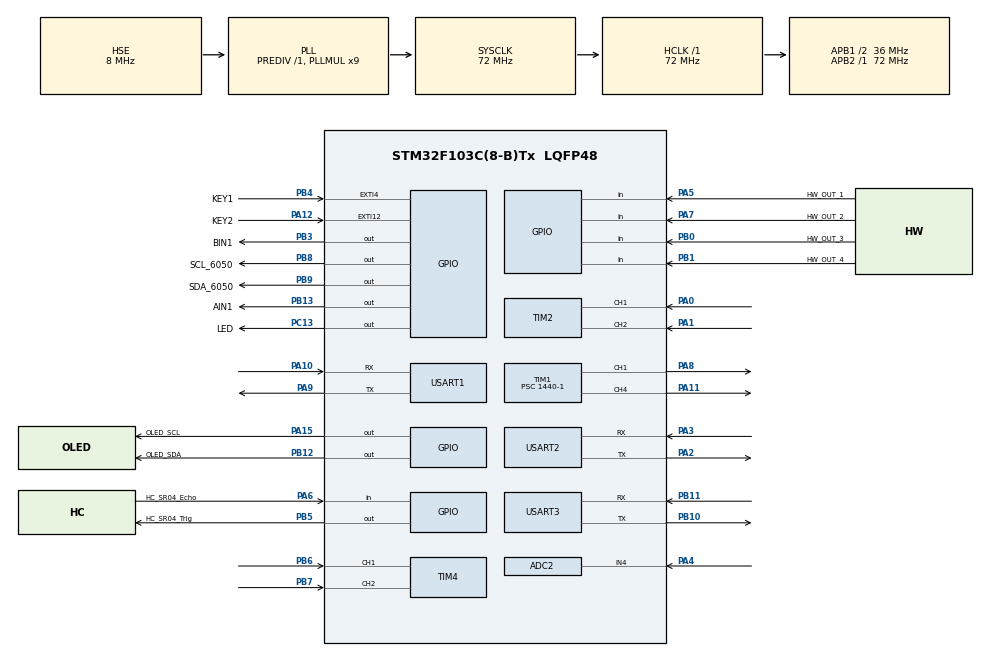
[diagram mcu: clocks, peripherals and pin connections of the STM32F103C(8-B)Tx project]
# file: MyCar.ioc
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ADC2.Channel-0\#ChannelRegularConversion=ADC_CHANNEL_4
ADC2.NbrOfConversionFlag=1
ADC2.Rank-0\#ChannelRegularConversion=1
ADC2.SamplingTime-0\#ChannelRegularConversion=ADC_SAMPLETIME_13CYCLES_5
FREERTOS.INCLUDE_uxTaskGetStackHighWaterMark=1
FREERTOS.Queues01=myQueueMode,1,uint8_t,0,Dynamic,NULL,NULL
FREERTOS.Tasks01=StopTask,2,128,StartStopTask,Default,NULL,Dynamic,NULL,NULL;LedTask,0,128,StartLedTask,Default,NULL,Dynamic,NULL,NULL;OledTask,0,128,StartOledTask,Default,NULL,Dynamic,NULL,NULL;MultiModeTask,1,128,StartMultiModeTask,Default,NULL,Dynamic,NULL,NULL
Mcu.Family=STM32F1
Mcu.Name=STM32F103C(8-B)Tx
Mcu.Package=LQFP48
NVIC.EXTI15_10_IRQn=true\:5\:0\:true\:false\:true\:true\:true\:true\:true
NVIC.EXTI4_IRQn=true\:5\:0\:true\:false\:true\:true\:true\:true\:true
NVIC.PriorityGroup=NVIC_PRIORITYGROUP_4
NVIC.TIM1_UP_IRQn=true\:5\:0\:false\:false\:true\:true\:true\:true\:true
NVIC.TIM2_IRQn=true\:5\:0\:false\:false\:true\:true\:true\:true\:true
NVIC.TIM3_IRQn=true\:15\:0\:false\:false\:true\:false\:false\:true\:true
NVIC.TIM4_IRQn=true\:5\:0\:false\:false\:true\:true\:true\:true\:true
NVIC.TimeBase=TIM3_IRQn
NVIC.TimeBaseIP=TIM3
NVIC.USART1_IRQn=true\:5\:0\:false\:false\:true\:true\:true\:true\:true
NVIC.USART2_IRQn=true\:5\:0\:false\:false\:true\:true\:true\:true\:true
NVIC.USART3_IRQn=true\:5\:0\:false\:false\:true\:true\:true\:true\:true
PA0-WKUP.GPIO_PuPd=GPIO_PULLUP
PA0-WKUP.Signal=S_TIM2_CH1_ETR
PA1.GPIO_PuPd=GPIO_PULLUP
PA1.Signal=S_TIM2_CH2
PA10.Mode=Asynchronous
PA10.Signal=USART1_RX
PA11.Signal=S_TIM1_CH4
PA12.GPIO_Label=KEY2
PA12.GPIO_ModeDefaultEXTI=GPIO_MODE_IT_FALLING
PA12.GPIO_PuPd=GPIO_PULLUP
PA12.Signal=GPXTI12
PA13.Mode=Serial_Wire
PA13.Signal=SYS_JTMS-SWDIO
PA14.Mode=Serial_Wire
PA14.Signal=SYS_JTCK-SWCLK
PA15.GPIO_Label=OLED_SCL
PA15.GPIO_PuPd=GPIO_PULLUP
PA15.PinState=GPIO_PIN_SET
PA15.Signal=GPIO_Output
PA2.Mode=Asynchronous
PA2.Signal=USART2_TX
PA3.Mode=Asynchronous
PA3.Signal=USART2_RX
PA4.Signal=ADCx_IN4
PA5.GPIO_Label=HW_OUT_1
PA5.Signal=GPIO_Input
PA6.GPIO_Label=HC_SR04_Echo
PA6.Signal=GPIO_Input
PA7.GPIO_Label=HW_OUT_2
PA7.Signal=GPIO_Input
PA8.Signal=S_TIM1_CH1
PA9.Mode=Asynchronous
PA9.Signal=USART1_TX
PB0.GPIO_Label=HW_OUT_3
PB0.Signal=GPIO_Input
PB1.GPIO_Label=HW_OUT_4
PB1.Signal=GPIO_Input
PB10.Mode=Asynchronous
PB10.Signal=USART3_TX
PB11.Mode=Asynchronous
PB11.Signal=USART3_RX
PB12.GPIO_Label=OLED_SDA
PB12.GPIO_PuPd=GPIO_PULLUP
PB12.PinState=GPIO_PIN_SET
PB12.Signal=GPIO_Output
PB13.GPIO_Label=AIN1
PB13.Signal=GPIO_Output
PB3.GPIO_Label=BIN1
PB3.Signal=GPIO_Output
PB4.GPIO_Label=KEY1
PB4.GPIO_ModeDefaultEXTI=GPIO_MODE_IT_RISING
PB4.GPIO_PuPd=GPIO_PULLDOWN
PB4.Signal=GPXTI4
PB5.GPIO_Label=HC_SR04_Trig
PB5.Signal=GPIO_Output
PB6.GPIO_PuPd=GPIO_PULLUP
PB6.Signal=S_TIM4_CH1
PB7.GPIO_PuPd=GPIO_PULLUP
PB7.Signal=S_TIM4_CH2
PB8.GPIO_Label=SCL_6050
PB8.PinState=GPIO_PIN_SET
PB8.Signal=GPIO_Output
PB9.GPIO_Label=SDA_6050
PB9.PinState=GPIO_PIN_SET
PB9.Signal=GPIO_Output
PC13-TAMPER-RTC.GPIO_Label=LED
PC13-TAMPER-RTC.Signal=GPIO_Output
PD0-OSC_IN.Mode=HSE-External-Oscillator
PD0-OSC_IN.Signal=RCC_OSC_IN
PD1-OSC_OUT.Mode=HSE-External-Oscillator
PD1-OSC_OUT.Signal=RCC_OSC_OUT
ProjectManager.HeapSize=0x800
ProjectManager.StackSize=0x800
ProjectManager.TargetToolchain=MDK-ARM V5.32
RCC.ADCPresc=RCC_ADCPCLK2_DIV6
RCC.AHBFreq_Value=72000000
RCC.APB1CLKDivider=RCC_HCLK_DIV2
RCC.APB1Freq_Value=36000000
RCC.APB1TimFreq_Value=72000000
RCC.APB2Freq_Value=72000000
RCC.APB2TimFreq_Value=72000000
RCC.HCLKFreq_Value=72000000
RCC.PLLMUL=RCC_PLL_MUL9
RCC.PLLSourceVirtual=RCC_PLLSOURCE_HSE
RCC.SYSCLKFreq_VALUE=72000000
RCC.SYSCLKSource=RCC_SYSCLKSOURCE_PLLCLK
RCC.USBFreq_Value=72000000
SH.ADCx_IN4.0=ADC2_IN4,IN4
SH.S_TIM1_CH1.0=TIM1_CH1,PWM Generation1 CH1
SH.S_TIM1_CH4.0=TIM1_CH4,PWM Generation4 CH4
SH.S_TIM2_CH1_ETR.0=TIM2_CH1,Encoder_Interface
SH.S_TIM2_CH2.0=TIM2_CH2,Encoder_Interface
SH.S_TIM4_CH1.0=TIM4_CH1,Encoder_Interface
SH.S_TIM4_CH2.0=TIM4_CH2,Encoder_Interface
TIM1.AutoReloadPreload=TIM_AUTORELOAD_PRELOAD_ENABLE
TIM1.Channel-PWM\ Generation1\ CH1=TIM_CHANNEL_1
TIM1.Channel-PWM\ Generation4\ CH4=TIM_CHANNEL_4
TIM1.Period=100-1
TIM1.Prescaler=1440-1
TIM1.Pulse-PWM\ Generation1\ CH1=50
TIM1.Pulse-PWM\ Generation4\ CH4=50
TIM2.EncoderMode=TIM_ENCODERMODE_TI12
TIM2.IC1Filter=6
TIM2.IC2Filter=6
TIM4.EncoderMode=TIM_ENCODERMODE_TI12
TIM4.IC1Filter=6
TIM4.IC2Filter=6
USART1.VirtualMode=VM_ASYNC
USART2.VirtualMode=VM_ASYNC
USART3.VirtualMode=VM_ASYNC
VP_FREERTOS_VS_CMSIS_V1.Mode=CMSIS_V1
VP_SYS_VS_tim3.Mode=TIM3
VP_TIM1_VS_ClockSourceINT.Mode=Internal
board=custom

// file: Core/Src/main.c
/* USER CODE BEGIN Header */
/**
  ******************************************************************************
  * @file           : main.c
  * @brief          : Main program body
  ******************************************************************************
  * @attention
  *
  * Copyright (c) 2025 STMicroelectronics.
  * All rights reserved.
  *
  * This software is licensed under terms that can be found in the LICENSE file
  * in the root directory of this software component.
  * If no LICENSE file comes with this software, it is provided AS-IS.
  *
  ******************************************************************************
  */
/* USER CODE END Header */
#include "main.h"
#include "cmsis_os.h"
#include "adc.h"
#include "tim.h"
#include "usart.h"
#include "gpio.h"

/* USER CODE BEGIN Includes */
#include "OLED.h"
#include "motor.h"
#include "pid.h"
#include "MPU6050.h"
#include "Uart.h"

#include "mpu6050.h"
#include "inv_mpu.h"
#include "inv_mpu_dmp_motion_driver.h"

/* USER CODE END Includes */

/* USER CODE BEGIN PTD */

extern tPid pidMotor1Speed;//声明电机1PID速度控制结构体类型变量
extern tPid pidMotor2Speed;
extern tPid pidFollow;    //定距离跟随PID
extern tPid pidMPU6050YawMovement;  //利用6050偏航角 进行姿态控制的PID
extern uint8_t Usart1_ReadBuf[255];	//串口1 缓冲数组
extern float p,i,d,a,b;//使用JSON时候使用的变量
extern uint8_t OledString[50];//OLED显示使用的字符串数组
extern float Mileage;//里程数

uint8_t g_ucUsart3ReceiveData;  //保存串口三接收的数据

extern char Usart3String[50];

/* USER CODE END PTD */

void SystemClock_Config(void);
void MX_FREERTOS_Init(void);

int main(void)
{

  /* MCU Configuration--------------------------------------------------------*/

  /* Reset of all peripherals, Initializes the Flash interface and the Systick. */
  HAL_Init();

  /* Configure the system clock */
  SystemClock_Config();

  /* Initialize all configured peripherals */
  MX_GPIO_Init();
  MX_USART1_UART_Init();
  MX_TIM1_Init();
  MX_TIM2_Init();
  MX_TIM4_Init();
  MX_ADC2_Init();
  MX_USART3_UART_Init();
  MX_USART2_UART_Init();
  /* We should never get here as control is now taken by the scheduler */
  /* USER CODE BEGIN 2 */
  HAL_TIM_PWM_Start(&htim1,TIM_CHANNEL_1);//开启定时器1 通道1 PWM输出
  HAL_TIM_PWM_Start(&htim1,TIM_CHANNEL_4);//开启定时器1 通道4 PWM输出
//	Motor_Set((int)0,(int)0);

  HAL_TIM_Encoder_Start(&htim2,TIM_CHANNEL_ALL);//开启定时器2
  HAL_TIM_Encoder_Start(&htim4,TIM_CHANNEL_ALL);//开启定时器4
  HAL_TIM_Base_Start_IT(&htim2);				//开启定时器2中断
  HAL_TIM_Base_Start_IT(&htim4);        //开启定时器4中断

  HAL_TIM_Base_Start_IT(&htim1);        //开启定时器1中断

  __HAL_UART_ENABLE_IT(&huart1,UART_IT_RXNE);	//开启串口一接收中断

	HAL_UART_Receive_IT(&huart3,&g_ucUsart3ReceiveData,1);  //串口三接收数据
	motorPidSetSpeed(0.0,0.0);
//	printf("init\n");
//  osDelay(500);//延时0.5秒 6050上电稳定后初始化
//  MPU_Init(); //初始化MPU6050
//  while(MPU_Init()!=0);
//  while(mpu_dmp_init()!=0);
//  while(MPU_Init()!=0);//初始化MPU6050模块的MPU 注意初始化阶段不要移动小车
  for(uint8_t i = 0; i < 3 ; i++)
	{
//		printf ("going to MPU init\n");
		uint8_t mpu_init_result = MPU_Init(); // 保存函数返回值	//你妈的 这里卡住了[底层调用的hal_delay该为MPU IIC里的delay]
//		printf ("MPU init over");
		if(mpu_init_result == 0)//初始化成功
		{
			printf("In main.c:MPU_Init() was initialized successfully\n");//串口1 输出初始化成功 注意！ 这个要写再串口1初始化之后
			sprintf((char*)Usart3String, "In main.c:MPU_Init() was initialized successfully\r\n");//蓝牙输出 初始化成功
		  HAL_UART_Transmit(&huart3,( uint8_t *)Usart3String,strlen(( const  char  *)Usart3String),50);//阻塞式发送通过串口三输出字符 strlen:计算字符串大小
			break;
		}
		//上面的MPU_Init能够成功了

		if(i == 3-1 )//说明初始化失败
		{
			printf("In main.c:MPU_Init() failed to initialize last return value: %d\n", mpu_init_result);//串口1 输出初始化失败 注意！ 这个要写再串口1初始化之后 初始化失败及最后一次返回值
			sprintf((char*)Usart3String, "In main.c:MPU_Init() failed to initialize last return value: %d\n", mpu_init_result);//蓝牙输出 初始化失败
		  HAL_UART_Transmit(&huart3,( uint8_t *)Usart3String,strlen(( const  char  *)Usart3String),50);//阻塞式发送通过串口三输出字符 strlen:计算字符串大小
		}
	}

//  while(mpu_dmp_init()!=0);//mpu6050,dmp初始化
  for(uint8_t i = 0; i < 3 ; i++)
	{
		//printf("go to mpu_dmp_init\n");
		uint8_t mpu_dmp_init_result = mpu_dmp_init();//这里卡住了
		//printf("mpu_dmp_init over\n");
		if(mpu_dmp_init_result == 0)//初始化成功
		{
			printf("In main.c:mpu_dmp_init() was initialized successfully\n");//串口1 输出初始化成功 注意！ 这个要写再串口1初始化之后
			sprintf((char*)Usart3String, "In main.c:mpu_dmp_init() was initialized successfully\r\n");//蓝牙输出 初始化成功
		  HAL_UART_Transmit(&huart3,( uint8_t *)Usart3String,strlen(( const  char  *)Usart3String),50);//阻塞式发送通过串口三输出字符 strlen:计算字符串大小
			break;
		}
		if(i == 3-1 )//说明初始化失败
		{
			printf("In main.c: mpu_dmp_init() failed to initialize, last return value: %d\n", mpu_dmp_init_result);//串口1 输出初始化失败 注意！ 这个要写再串口1初始化之后
			sprintf((char*)Usart3String, "In main.c: mpu_dmp_init() failed to initialize, last return value: %d\n", mpu_dmp_init_result);//蓝牙输出 初始化成功
		  HAL_UART_Transmit(&huart3,( uint8_t *)Usart3String,strlen(( const  char  *)Usart3String),50);//阻塞式发送通过串口三输出字符 strlen:计算字符串大小
		}
	}

  /* Call init function for freertos objects (in freertos.c) */
  MX_FREERTOS_Init();

  /* Start scheduler */
  osKernelStart();

//***********MPU6050初始化***************//
//	osDelay(500);//延时0.5秒 6050上电稳定后初始化
//  MPU_Init(); //初始化MPU6050
//  while(MPU_Init()!=0);
//  while(mpu_dmp_init()!=0);

  /* USER CODE END 2 */

  /* Infinite loop */
  while (1)
  {

  }
}

void SystemClock_Config(void)
{
  RCC_OscInitTypeDef RCC_OscInitStruct = {0};
  RCC_ClkInitTypeDef RCC_ClkInitStruct = {0};
  RCC_PeriphCLKInitTypeDef PeriphClkInit = {0};

  /** Initializes the RCC Oscillators according to the specified parameters
  * in the RCC_OscInitTypeDef structure.
  */
  RCC_OscInitStruct.OscillatorType = RCC_OSCILLATORTYPE_HSE;
  RCC_OscInitStruct.HSEState = RCC_HSE_ON;
  RCC_OscInitStruct.HSEPredivValue = RCC_HSE_PREDIV_DIV1;
  RCC_OscInitStruct.HSIState = RCC_HSI_ON;
  RCC_OscInitStruct.PLL.PLLState = RCC_PLL_ON;
  RCC_OscInitStruct.PLL.PLLSource = RCC_PLLSOURCE_HSE;
  RCC_OscInitStruct.PLL.PLLMUL = RCC_PLL_MUL9;
  if (HAL_RCC_OscConfig(&RCC_OscInitStruct) != HAL_OK)
  {
    Error_Handler();
  }

  /** Initializes the CPU, AHB and APB buses clocks
  */
  RCC_ClkInitStruct.ClockType = RCC_CLOCKTYPE_HCLK|RCC_CLOCKTYPE_SYSCLK
                              |RCC_CLOCKTYPE_PCLK1|RCC_CLOCKTYPE_PCLK2;
  RCC_ClkInitStruct.SYSCLKSource = RCC_SYSCLKSOURCE_PLLCLK;
  RCC_ClkInitStruct.AHBCLKDivider = RCC_SYSCLK_DIV1;
  RCC_ClkInitStruct.APB1CLKDivider = RCC_HCLK_DIV2;
  RCC_ClkInitStruct.APB2CLKDivider = RCC_HCLK_DIV1;

  if (HAL_RCC_ClockConfig(&RCC_ClkInitStruct, FLASH_LATENCY_2) != HAL_OK)
  {
    Error_Handler();
  }
  PeriphClkInit.PeriphClockSelection = RCC_PERIPHCLK_ADC;
  PeriphClkInit.AdcClockSelection = RCC_ADCPCLK2_DIV6;
  if (HAL_RCCEx_PeriphCLKConfig(&PeriphClkInit) != HAL_OK)
  {
    Error_Handler();
  }
}

//void HAL_TIM_PeriodElapsedCallback(TIM_HandleTypeDef *htim)
//{
//  /* USER CODE BEGIN Callback 0 */
//	if(htim == &htim1)//htim1  500HZ 2ms中断一次
//	{
//		TimerCount++;//每次进入中断 、中断计数变量递增
//		if(TimerCount %5 == 0)//每10ms 执行一次
//		{
//			Encode1Count = -(short)__HAL_TIM_GET_COUNTER(&htim4);//获得当前编码器计数值并赋值 (short):是类型转化 -:是因为电机对侧安装
//			Encode2Count = (short)__HAL_TIM_GET_COUNTER(&htim2);
//			__HAL_TIM_SET_COUNTER(&htim4,0);//每次获得编码器计数值后都清零，这样每次计数值就是变化量
//			__HAL_TIM_SET_COUNTER(&htim2,0);
//
//			/* 电机速度速度 = 编码器计数值*编码器读取频率/减速比/编码器线数/4倍频 */
//			Motor1Speed = (float)Encode1Count*100/9.6/11/4;
//			Motor2Speed = (float)Encode2Count*100/9.6/11/4;
//		}
//		if(TimerCount %10 == 0)//每20ms执行一次
//		{
//			/*里程 += 时间*电机速度*周长*/
//		   Mileage += 0.02*Motor1Speed*22;
//		   /*控制电机转速*/
//		   Motor_Set(PID_realize(&pidMotor1Speed,Motor1Speed),PID_realize(&pidMotor2Speed,Motor2Speed));
//		   TimerCount=0;
//		}
//	}

//  /* USER CODE END Callback 0 */
//  if (htim->Instance == TIM3) {
//    HAL_IncTick();
//  }
//  /* USER CODE BEGIN Callback 1 */

//  /* USER CODE END Callback 1 */
//}

void Error_Handler(void)
{
  __disable_irq();
  while (1)
  {
  }
}

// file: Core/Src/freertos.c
/* USER CODE BEGIN Header */
/**
  ******************************************************************************
  * File Name          : freertos.c
  * Description        : Code for freertos applications
  ******************************************************************************
  * @attention
  *
  * Copyright (c) 2025 STMicroelectronics.
  * All rights reserved.
  *
  * This software is licensed under terms that can be found in the LICENSE file
  * in the root directory of this software component.
  * If no LICENSE file comes with this software, it is provided AS-IS.
  *
  ******************************************************************************
  */
/* USER CODE END Header */

#include "FreeRTOS.h"
#include "task.h"
#include "main.h"
#include "cmsis_os.h"

/* USER CODE BEGIN Includes */
#include "OLED.h"
#include "motor.h"
#include "tim.h"
#include "super_PC.h"
#include "pid.h"
#include "cJSON.h"
#include "usart.h"
#include "adc.h"
#include "gpio.h"
#include "HC_SR04.h"
#include "mpu6050.h"
#include "inv_mpu.h"
#include "inv_mpu_dmp_motion_driver.h"
#include "MPU6050.h"

/* USER CODE END Includes */

/* USER CODE BEGIN PTD */
extern short Encode1Count;//电机编码器计数值
extern short Encode2Count ;
extern float Motor1Speed;//电机速度 转/s
extern float Motor2Speed;

extern tPid pidMotor1Speed;	//声明电机PID速度控制结构体变量
extern tPid pidMotor2Speed;

uint8_t OledString[50];//OLED显示使用的字符串数组

extern uint8_t  Usart1_ReadBuf[255];//串口一 缓冲数据组
cJSON *cJsonData ,*cJsonVlaue;
float p=0,i=0,d=0,a=0;//使用CJSON时使用的变量

float Mileage;//里程数

extern tPid pidHW_Tracking;//红外循迹的PID
uint8_t g_ucaHW_Read[4] = {0};//保存红外对管电平的数组
//int8_t g_cThisState = 0;//这次状态
//int8_t g_cLastState = 0; //上次状态
float g_cThisState = 0;//这次状态
float g_cLastState = 0; //上次状态

float g_fHW_PID_Out;//红外对管PID计算输出速度
float g_fHW_PID_Out1;//电机1的最后循迹PID控制速度
float g_fHW_PID_Out2;//电机2的最后循迹PID控制速度

extern uint8_t g_ucUsart3ReceiveData;  //保存串口三接收的数据

char Usart3String[50];
float g_fHC_SR04_Read;
extern tPid pidFollow;    //定距离跟随PID结构体类型变量
float g_fFollow_PID_Out;

float pitch,roll,yaw; // 俯仰角 横滚角 航向角

extern tPid pidMPU6050YawMovement;
float  g_fMPU6050YawMovePidOut = 0.00f; //姿态PID运算输出
float  g_fMPU6050YawMovePidOut1 = 0.00f; //第一个电机控制输出
float  g_fMPU6050YawMovePidOut2 = 0.00f; //第一个电机控制输出

uint8_t g_ucMode = 0; //小车运动模式标志位

/* USER CODE END PTD */

osThreadId StopTaskHandle;
osThreadId LedTaskHandle;
osThreadId OledTaskHandle;
osThreadId MultiModeTaskHandle;
osMessageQId myQueueModeHandle;

void StartStopTask(void const * argument);
void StartLedTask(void const * argument);
void StartOledTask(void const * argument);
void StartMultiModeTask(void const * argument);

void MX_FREERTOS_Init(void); /* (MISRA C 2004 rule 8.1) */

/* GetIdleTaskMemory prototype (linked to static allocation support) */
void vApplicationGetIdleTaskMemory( StaticTask_t **ppxIdleTaskTCBBuffer, StackType_t **ppxIdleTaskStackBuffer, uint32_t *pulIdleTaskStackSize );

/* USER CODE BEGIN GET_IDLE_TASK_MEMORY */
static StaticTask_t xIdleTaskTCBBuffer;
static StackType_t xIdleStack[configMINIMAL_STACK_SIZE];

void vApplicationGetIdleTaskMemory( StaticTask_t **ppxIdleTaskTCBBuffer, StackType_t **ppxIdleTaskStackBuffer, uint32_t *pulIdleTaskStackSize )
{
  *ppxIdleTaskTCBBuffer = &xIdleTaskTCBBuffer;
  *ppxIdleTaskStackBuffer = &xIdleStack[0];
  *pulIdleTaskStackSize = configMINIMAL_STACK_SIZE;
  /* place for user code */
}
/* USER CODE END GET_IDLE_TASK_MEMORY */

void MX_FREERTOS_Init(void) {
  /* USER CODE BEGIN Init */
	OLED_Init();
	OLED_Clear();
	PID_init();		//初始化，设置目标值
  /* USER CODE END Init */

  /* Create the queue(s) */
  /* definition and creation of myQueueMode */
  osMessageQDef(myQueueMode, 1, uint8_t);
  myQueueModeHandle = osMessageCreate(osMessageQ(myQueueMode), NULL);

  /* Create the thread(s) */
  /* definition and creation of StopTask */
  osThreadDef(StopTask, StartStopTask, osPriorityHigh, 0, 128);
  StopTaskHandle = osThreadCreate(osThread(StopTask), NULL);

  /* definition and creation of LedTask */
//  osThreadDef(LedTask, StartLedTask, osPriorityNormal, 0, 128);
//  LedTaskHandle = osThreadCreate(osThread(LedTask), NULL);

  /* definition and creation of OledTask */
  osThreadDef(OledTask, StartOledTask, osPriorityNormal, 0, 156);
  OledTaskHandle = osThreadCreate(osThread(OledTask), NULL);

  /* definition and creation of MultiModeTask */
  osThreadDef(MultiModeTask, StartMultiModeTask, osPriorityAboveNormal, 0, 128);
  MultiModeTaskHandle = osThreadCreate(osThread(MultiModeTask), NULL);

}

void StartStopTask(void const * argument)
{
  /* USER CODE BEGIN StartStopTask */
		uint8_t receivedMode;  // 定义临时变量 用来存储读取到的当前模式
//	int Motor1Pwm = 0, Motor2Pwm = 0;
  /* Infinite loop */
  for(;;)
  {
		 // xQueuePeek从队列查看数据 但是不将数据移除。
		//不等待队列中的数据，队列为空 则赋值receivedMode 为零
		if (xQueuePeek(myQueueModeHandle, &receivedMode, 0) == errQUEUE_EMPTY)
		{
			receivedMode = 0; //返回errQUEUE_EMPTY 表示 消息队列为空 赋值receivedMode 为零
		}
		if(receivedMode == 0)//如果当前模式为0 则设置小车速度为零
		{
			motorPidSetSpeed(0,0);			//设置小车速度为0
		}

		osDelay(10);

  }
  /* USER CODE END StartStopTask */
}

void StartLedTask(void const * argument)
{
  /* USER CODE BEGIN StartLedTask */
	/* Infinite loop */
  for(;;)
  {

		/******************
*   电机实际速度(定时器回调函数中，完成计算)
******************/

//		sprintf((char*)OledString,"s1:%.2f s2:%.2f",Motor1Speed,Motor2Speed);
//		OLED_ShowString(1,1,(char*)OledString);

//		sprintf((char*)OledString,"Mil:%.2f",Mileage);
//		OLED_ShowString(2,1,(char*)OledString);

//		sprintf((char*)OledString,"V:%.2f",adcGetBatteryVoltage());
//		OLED_ShowString(3,1,(char*)OledString);
//
//		osDelay(10);

/******************
*   电机速度控制（简单判断->PID算法）
******************/

//		if(Motor1Speed>3.1) Motor1Pwm--;
//		if(Motor1Speed<2.9) Motor1Pwm++;
//		if(Motor2Speed>3.1) Motor2Pwm--;
//		if(Motor2Speed<2.9) Motor2Pwm++;

/******************
*   PID设速，上位机速度曲线显示、调试
******************/
//		Motor_Set(PID_realize(&pidMotor1Speed ,Motor1Speed),Motor2Pwm);
//
//		ANO_DT_Send_F2(Motor1Speed*100,3.0*100,Motor2Speed*100,3.0*100);

/******************
*   通过CJSON，帮助PID调试
******************/
//	if(Usart_WaitReasFinish() == 0)//是否接收完毕
//	{
//		cJsonData  = cJSON_Parse((const char *)Usart1_ReadBuf);
//		if(cJSON_GetObjectItem(cJsonData,"p") !=NULL)
//		{
//			cJsonVlaue = cJSON_GetObjectItem(cJsonData,"p");
//		    p = cJsonVlaue->valuedouble;
//			pidMotor1Speed.Kp = p;
//		}
//		if(cJSON_GetObjectItem(cJsonData,"i") !=NULL)
//		{
//			cJsonVlaue = cJSON_GetObjectItem(cJsonData,"i");
//		    i = cJsonVlaue->valuedouble;
//			pidMotor1Speed.Ki = i;
//		}
//		if(cJSON_GetObjectItem(cJsonData,"d") !=NULL)
//		{
//			cJsonVlaue = cJSON_GetObjectItem(cJsonData,"d");
//		    d = cJsonVlaue->valuedouble;
//			pidMotor1Speed.Kd = d;
//		}
//		if(cJSON_GetObjectItem(cJsonData,"a") !=NULL)
//		{
//
//			cJsonVlaue = cJSON_GetObjectItem(cJsonData,"a");
//		    a = cJsonVlaue->valuedouble;
//			pidMotor1Speed.target_val =a;
//		}
//		if(cJsonData != NULL){
//		  cJSON_Delete(cJsonData);//释放空间、但是不能删除cJsonVlaue不然会 出现异常错误
//		}
//		memset(Usart1_ReadBuf,0,255);//清空接收buf，注意这里不能使用strlen
//	}

//	OLED_ShowNum (4,1,p,1);
//	OLED_ShowNum (4,3,i,1);
//	OLED_ShowNum (4,5,d,1);
//	OLED_ShowNum (4,7,a,1);

/******************
*   PID置速，控制小车运动
******************/
//		motorPidSetSpeed(3.0,3.0);

/******************
*   红外对管循迹
******************/

//if(READ_HW_OUT_1 == 0&&READ_HW_OUT_2 == 0&&READ_HW_OUT_3 == 0&&READ_HW_OUT_4 == 0 )
//	{
////		printf("应该前进\r\n");
//		motorPidSetSpeed(1,1);//前运动
//	}
//	if(READ_HW_OUT_1 == 0&&READ_HW_OUT_2 == 1&&READ_HW_OUT_3 == 0&&READ_HW_OUT_4 == 0 )
//	{
////		printf("应该右转\r\n");
//		motorPidSetSpeed(0.5,3);//右边运动
//	}
//	if(READ_HW_OUT_1 == 1&&READ_HW_OUT_2 == 0&&READ_HW_OUT_3 == 0&&READ_HW_OUT_4 == 0 )
//	{
////		printf("快速右转\r\n");
//		motorPidSetSpeed(0.2,5);//快速右转
//	}
//	if(READ_HW_OUT_1 == 0&&READ_HW_OUT_2 == 0&&READ_HW_OUT_3 == 1&&READ_HW_OUT_4 == 0 )
//	{
////		printf("应该左转\r\n");
//		motorPidSetSpeed(3,0.5);//左边运动
//	}
//	if(READ_HW_OUT_1 == 0&&READ_HW_OUT_2 == 0&&READ_HW_OUT_3 == 0&&READ_HW_OUT_4 == 1 )
//	{
////		printf("快速左转\r\n");
//		motorPidSetSpeed(5,0.2);//快速左转
//	}

/******************
*   红外对管循迹+PID
******************/

//	g_ucaHW_Read[0] = READ_HW_OUT_1;//读取红外对管状态、这样相比于写在if里面更高效
//	g_ucaHW_Read[1] = READ_HW_OUT_2;
//	g_ucaHW_Read[2] = READ_HW_OUT_3;
//	g_ucaHW_Read[3] = READ_HW_OUT_4;

//	if(g_ucaHW_Read[0] == 0&&g_ucaHW_Read[1] == 0&&g_ucaHW_Read[2] == 0&&g_ucaHW_Read[3] == 0 )
//	{
////		printf("应该前进\r\n");//注释掉更加高效，减少无必要程序执行
//		g_cThisState = 0;//前进
//	}
//	else if(g_ucaHW_Read[0] == 0&&g_ucaHW_Read[1] == 1&&g_ucaHW_Read[2] == 0&&g_ucaHW_Read[3] == 0 )//使用else if更加合理高效
//	{
////		printf("应该右转\r\n");
//		g_cThisState = -0.6;//应该右转
//	}
//	else if(g_ucaHW_Read[0] == 1&&g_ucaHW_Read[1] == 0&&g_ucaHW_Read[2] == 0&&g_ucaHW_Read[3] == 0 )
//	{
////		printf("快速右转\r\n");
//		g_cThisState = -1.8;//快速右转
//	}
//	else if(g_ucaHW_Read[0] == 1&&g_ucaHW_Read[1] == 1&&g_ucaHW_Read[2] == 0&&g_ucaHW_Read[3] == 0)
//	{
////		printf("快速右转\r\n");
//		g_cThisState = -2.5;//快速右转
//	}
//	else if(g_ucaHW_Read[0] == 0&&g_ucaHW_Read[1] == 0&&g_ucaHW_Read[2] == 1&&g_ucaHW_Read[3] == 0 )
//	{
////		printf("应该左转\r\n");
//		g_cThisState = 0.6;//应该左转
//	}
//	else if(g_ucaHW_Read[0] == 0&&g_ucaHW_Read[1] == 0&&g_ucaHW_Read[2] == 0&&g_ucaHW_Read[3] == 1 )
//	{
////		printf("快速左转\r\n");
//		g_cThisState = 1.8;//快速左转
//	}
//	else if(g_ucaHW_Read[0] == 0&&g_ucaHW_Read[1] == 0&&g_ucaHW_Read[2] == 1&&g_ucaHW_Read[3] == 1)
//	{
////	    printf("快速左转\r\n");
//		g_cThisState = 2.5;//快速左转
//	}
//	g_fHW_PID_Out = PID_realize(&pidHW_Tracking,g_cThisState);//PID计算输出目标速度 这个速度，会和基础速度加减

//	g_fHW_PID_Out1 = 2 + g_fHW_PID_Out;//电机1速度=基础速度+循迹PID输出速度
//	g_fHW_PID_Out2 = 2 - g_fHW_PID_Out;//电机1速度=基础速度-循迹PID输出速度
//	if(g_fHW_PID_Out1 >5) g_fHW_PID_Out1 =5;//进行限幅 限幅速度在0-5之间
//	if(g_fHW_PID_Out1 <0) g_fHW_PID_Out1 =0;
//	if(g_fHW_PID_Out2 >5) g_fHW_PID_Out2 =5;
//	if(g_fHW_PID_Out2 <0) g_fHW_PID_Out2 =0;
//
//	if(g_cThisState != g_cLastState)//如何这次状态不等于上次状态、就进行改变目标速度和控制电机、在定时器中依旧定时控制电机
//	{
//		motorPidSetSpeed(g_fHW_PID_Out1,g_fHW_PID_Out2);//通过计算的速度控制电机
//	}
//
//	g_cLastState = g_cThisState;//保存上次红外对管状态

//		osDelay(10);

/******************
*   通过串口三接收的数据改变小车运动状态
*
*		电脑通过串口助手进行控制 ->  先设置好蓝牙连接，手机通过蓝牙控制
******************/
//		sprintf((char*)OledString,"s1:%.2f s2:%.2f",Motor1Speed,Motor2Speed);
//		OLED_ShowString(1,1,(char*)OledString);		//速度显示

/******************
*   超声波模块测距 -> 超声波避障
******************/
//****************测距，发送至蓝牙*****************//
//		sprintf((char *)Usart3String,"HC_SR04:%.2fcm\r\n",HC_SR04_Read());//显示超声波数据
//		HAL_UART_Transmit(&huart3,( uint8_t *)Usart3String,strlen(( const  char  *)Usart3String),0xFFFF);//通过串口三输出字符 strlen:计算字符串大小
//		sprintf((char *)OledString ,"HC_SR04:%.2f",HC_SR04_Read());//显示超声波数据
//		OLED_ShowString(3,1,(char*)Usart3String);		//速度显示

//**************避障功能********************//
//避障逻辑
//	if(HC_SR04_Read() > 25)//前方无障碍物
//	{
//		motorPidSetSpeed(1,1);//前运动
//		HAL_Delay(100);
//	}
//	else{	//前方有障碍物
//		motorPidSetSpeed(-1,1);//右边运动 原地
//		HAL_Delay(500);
//		if(HC_SR04_Read() > 25)//右边无障碍物
//		{
//			motorPidSetSpeed(1,1);//前运动
//			HAL_Delay(100);
//		}
//		else{//右边有障碍物
//			motorPidSetSpeed(1,-1);//左边运动 原地
//			HAL_Delay(1000);
//			if(HC_SR04_Read() >25)//左边无障碍物
//			{
//				 motorPidSetSpeed(1,1);//前运动
//				HAL_Delay(100);
//			}
//			else{
//				motorPidSetSpeed(-1,-1);//后运动
//				HAL_Delay(1000);
//				motorPidSetSpeed(-1,1);//右边运动
//				HAL_Delay(50);
//			}
//		}
//	}
//
//		osDelay(5);

/******************
*   超声波PID跟随 (可设置 开始跟随的距离、目标距离 )
******************/

//    g_fHC_SR04_Read=HC_SR04_Read();//读取前方障碍物距离
//	if(g_fHC_SR04_Read < 20){  //如果前 X cm 有东西就启动跟随
//		g_fFollow_PID_Out = PID_realize(&pidFollow,g_fHC_SR04_Read);//PID计算输出目标速度 这个速度，会和基础速度加减
//		if(g_fFollow_PID_Out > 3) g_fFollow_PID_Out = 3;//对输出速度限幅
//		if(g_fFollow_PID_Out < -3) g_fFollow_PID_Out = -3;
//		motorPidSetSpeed(g_fFollow_PID_Out,g_fFollow_PID_Out);//速度作用与电机上
//	}
//	else motorPidSetSpeed(0,0);//如果前面 X cm 没有东西就停止
//	HAL_Delay(10);//读取超声波传感器不能过快

/******************
*   MPU6050  读取姿态角 -> 用于直线、直角转弯控制
******************/
////*****************姿态角读取**************************

//   	sprintf((char *)Usart3String,"pitch:%.2f roll:%.2f yaw:%.2f\r\n",pitch,roll,yaw);//显示6050数据
//		HAL_UART_Transmit(&huart3,( uint8_t *)Usart3String,strlen(( const  char  *)Usart3String),0xFFFF);//通过串口三输出字符 strlen:计算字符串大小
//////   printf ("%s\n",Usart3String);
//		sprintf((char *)OledString,"p:%.1f  r:%.1f ",pitch,roll);//显示6050数据 俯仰角 横滚角
//		OLED_ShowString (1,1,OledString);
//
//		sprintf((char *)OledString,"y:%.1f  ",yaw);//显示6050数据  航向角
//		OLED_ShowString (2,1,OledString);

//		for(uint8_t i = 0; i < 20 ; i++)
//		{
//			if(mpu_dmp_get_data(&pitch,&roll,&yaw) == 0)//获得MPU6050数据成功
//			{
//				strcpy((char *)Usart3String,"mpu_dmp_get_data() Data for success\n");
//			HAL_UART_Transmit(&huart3,( uint8_t *)Usart3String,strlen(( const  char  *)Usart3String),0xFFFF);//通过串口三输出字符 strlen:计算字符串大小
//				printf("mpu_dmp_get_data() Data for success\n");//串口1 输出数据获取成功 注意！ 这个要写再串口1初始化之后
//			  break;
//			}
//
//			if(i == 20-1 )//i已经等于(20-1)次 还没有退出循环说明 说明输出读取失败
//			{
//				strcpy((char *)Usart3String,"mpu_dmp_get_data() Data acquisition failure\n\n");
//			HAL_UART_Transmit(&huart3,( uint8_t *)Usart3String,strlen(( const  char  *)Usart3String),0xFFFF);//通过串口三输出字符 strlen:计算字符串大小
//
//				printf("mpu_dmp_get_data()  Data acquisition failure\n");//串口1 输出数据获取失败 注意！ 这个要写再串口1初始化之后
//			}
//		}

//////////////		sprintf((char *)OledString,"p:%.2f r:%.2f \r\n",pitch,roll);//显示6050数据 俯仰角 横滚角
//////////////		OLED_ShowString (1,1,OledString);
//////////////
//////////////		sprintf((char *)OledString,"y:%.2f  \r\n",yaw);//显示6050数据  航向角
//////////////		OLED_ShowString (2,1,OledString);

////////////mpu_dmp_get_data(&pitch,&roll,&yaw);//返回值:0,DMP成功解出欧拉角
////////////    while(mpu_dmp_get_data(&pitch,&roll,&yaw)!=0){}  //这个可以解决经常读不出数据的问题

////////////		MPU6050_UpdateAttitude(dt);  // 更新姿态角
////////////   	sprintf((char *)Usart3String,"pitch:%.1f roll:%.1f yaw:%.1f\r\n",pitch,roll,yaw);//显示6050数据
////////////		HAL_UART_Transmit(&huart3,( uint8_t *)Usart3String,strlen(( const  char  *)Usart3String),0xFFFF);//通过串口三输出字符 strlen:计算字符串大小
////////////
////////////		sprintf((char *)OledString,"p:%.1f  r:%.1f ",pitch,roll);//显示6050数据 俯仰角 横滚角
////////////		OLED_ShowString (1,1,OledString);
////////////
////////////		sprintf((char *)OledString,"y:%.1f  ",yaw);//显示6050数据  航向角
////////////		OLED_ShowString (2,1,OledString);

		g_fMPU6050YawMovePidOut = PID_realize(&pidMPU6050YawMovement,yaw);//PID计算输出目标速度 这个速度，会和基础速度加减

			g_fMPU6050YawMovePidOut1 = 1.5 + g_fMPU6050YawMovePidOut;//基础速度加减PID输出速度
			g_fMPU6050YawMovePidOut2 = 1.5 - g_fMPU6050YawMovePidOut;
			if(g_fMPU6050YawMovePidOut1 >3.5) g_fMPU6050YawMovePidOut1 =3.5;//进行限幅
			if(g_fMPU6050YawMovePidOut1 <0) g_fMPU6050YawMovePidOut1 =0;
			if(g_fMPU6050YawMovePidOut2 >3.5) g_fMPU6050YawMovePidOut2 =3.5;
			if(g_fMPU6050YawMovePidOut2 <0) g_fMPU6050YawMovePidOut2 =0;
			motorPidSetSpeed(g_fMPU6050YawMovePidOut1,g_fMPU6050YawMovePidOut2);

		osDelay(1);

  }
  /* USER CODE END StartLedTask */
}

void StartOledTask(void const * argument)
{
  /* USER CODE BEGIN StartOledTask */
		uint8_t readMode;  // 定义临时变量 用来存储读取到的当前模式
	/* Infinite loop */
  for(;;)
  {
		if (xQueuePeek(myQueueModeHandle, &readMode, 0) == errQUEUE_EMPTY)
		{
			readMode = 0;   //如果返回errQUEUE_EMPTY 就是消息队列为空就赋值 readMode = 0
		}

		sprintf((char *)OledString,"Mode:%d",readMode);//显示g_ucMode 当前模式
		OLED_ShowString (1,1,(char*)OledString);

		sprintf((char *)Usart3String,"Mode:%d\n",readMode);//蓝牙APP显示
		HAL_UART_Transmit(&huart3,( uint8_t *)Usart3String,strlen(( const  char  *)Usart3String),50);//阻塞式发送通过串口三输出字符 strlen:计算字符串大小

		//OLED显示
//		sprintf((char*)OledString,"v1:%.2f v2:%.2f",Motor1Speed,Motor2Speed);//显示速度
//		OLED_ShowString (2,1,(char*)OledString);

		sprintf((char*)OledString, "L:%.2f", Mileage);//显示里程
		OLED_ShowString (1,8,(char*)OledString);

		sprintf((char*)OledString, "U:%.2fV", adcGetBatteryVoltage());//显示电池电压
		OLED_ShowString (2,9,(char*)OledString);

		sprintf((char *)OledString,"HC:%.2f",HC_SR04_Read());//显示超声波数据
		OLED_ShowString (2,1,(char*)OledString);

		sprintf((char *)OledString,"p:%.2f r:%.2f",pitch,roll);//显示6050数据 俯仰角 横滚角
		OLED_ShowString (3,1,OledString);

		sprintf((char *)OledString,"y:%.2f",yaw);//显示6050数据  航向角
		OLED_ShowString (4,1,OledString);

	//蓝牙APP显示
		sprintf((char*)Usart3String, "v1:%.2fv2:%.2f\n", Motor1Speed,Motor2Speed);//显示速度
		HAL_UART_Transmit(&huart3,( uint8_t *)Usart3String,strlen(( const  char  *)Usart3String),50);//阻塞式发送通过串口三输出字符 strlen:计算字符串大小
		//阻塞方式发送可以保证数据发送完毕，中断发送不一定可以保证数据已经发送完毕才启动下一次发送
		sprintf((char*)Usart3String, "Mileage:%.2f\n", Mileage);//显示里程
		HAL_UART_Transmit(&huart3,( uint8_t *)Usart3String,strlen(( const  char  *)Usart3String),50);//阻塞式发送通过串口三输出字符 strlen:计算字符串大小

		sprintf((char*)Usart3String, "U:%.2fV\n", adcGetBatteryVoltage());//显示电池电压
		HAL_UART_Transmit(&huart3,( uint8_t *)Usart3String,strlen(( const  char  *)Usart3String),50);//阻塞式发送通过串口三输出字符 strlen:计算字符串大小

		sprintf((char *)Usart3String,"HC_SR04:%.2fcm\n",HC_SR04_Read());//显示超声波数据
		HAL_UART_Transmit(&huart3,( uint8_t *)Usart3String,strlen(( const  char  *)Usart3String),50);//阻塞式发送通过串口三输出字符 strlen:计算字符串大小

		sprintf((char *)Usart3String,"pitch:%.2f roll:%.2f yaw:%.2f\n",pitch,roll,yaw);//显示6050数据 俯仰角 横滚角 航向角
		HAL_UART_Transmit(&huart3,( uint8_t *)Usart3String,strlen(( const  char  *)Usart3String),0xFFFF);//通过串口三输出字符 strlen:计算字符串大小

		for(uint8_t i = 0; i < 20 ; i++)
		{
			if(mpu_dmp_get_data(&pitch,&roll,&yaw) == 0)//获得MPU6050数据成功
			{
				strcpy((char *)Usart3String,"mpu_dmp_get_data() Data for success\n");
			HAL_UART_Transmit(&huart3,( uint8_t *)Usart3String,strlen(( const  char  *)Usart3String),100);//通过串口三输出字符 strlen:计算字符串大小
				printf("mpu_dmp_get_data() Data for success\n");//串口1 输出数据获取成功 注意！ 这个要写再串口1初始化之后
			  break;
			}

			if(i == 20-1 )//i已经等于(20-1)次 还没有退出循环说明 说明输出读取失败
			{
				strcpy((char *)Usart3String,"mpu_dmp_get_data() Data acquisition failure\n\n");
			HAL_UART_Transmit(&huart3,( uint8_t *)Usart3String,strlen(( const  char  *)Usart3String),100);//通过串口三输出字符 strlen:计算字符串大小

				printf("mpu_dmp_get_data()  Data acquisition failure\n");//串口1 输出数据获取失败 注意！ 这个要写再串口1初始化之后
			}
		}

    osDelay(10);
  }
  /* USER CODE END StartOledTask */
}

void StartMultiModeTask(void const * argument)
{
  /* USER CODE BEGIN StartMultiModeTask */
	uint8_t readMode;  // 定义临时变量 用来存储读取到的当前模式
  /* Infinite loop */
  for(;;)
  {
		if (xQueuePeek(myQueueModeHandle, &readMode, 0) == errQUEUE_EMPTY)
		{
			readMode = 0;   //如果返回errQUEUE_EMPTY 就是消息队列为空就赋值 readMode = 0
		}

		if(readMode == 1)
		{
			//PID红外循迹
			g_ucaHW_Read[0] = READ_HW_OUT_1;//读取红外对管状态、这样相比于写在if里面更高效
			g_ucaHW_Read[1] = READ_HW_OUT_2;
			g_ucaHW_Read[2] = READ_HW_OUT_3;
			g_ucaHW_Read[3] = READ_HW_OUT_4;

			if(g_ucaHW_Read[0] == 0&&g_ucaHW_Read[1] == 0&&g_ucaHW_Read[2] == 0&&g_ucaHW_Read[3] == 0 )
			{
		//		printf("应该前进\r\n");//注释掉更加高效，减少无必要程序执行
				g_cThisState = 0;//前进
			}
			else if(g_ucaHW_Read[0] == 0&&g_ucaHW_Read[1] == 1&&g_ucaHW_Read[2] == 0&&g_ucaHW_Read[3] == 0 )//使用else if更加合理高效
			{
		//		printf("应该右转\r\n");
				g_cThisState = -0.6;//应该右转
			}
			else if(g_ucaHW_Read[0] == 1&&g_ucaHW_Read[1] == 0&&g_ucaHW_Read[2] == 0&&g_ucaHW_Read[3] == 0 )
			{
		//		printf("快速右转\r\n");
				g_cThisState = -1.8;//快速右转
			}
			else if(g_ucaHW_Read[0] == 1&&g_ucaHW_Read[1] == 1&&g_ucaHW_Read[2] == 0&&g_ucaHW_Read[3] == 0)
			{
		//		printf("快速右转\r\n");
				g_cThisState = -2.5;//快速右转
			}
			else if(g_ucaHW_Read[0] == 0&&g_ucaHW_Read[1] == 0&&g_ucaHW_Read[2] == 1&&g_ucaHW_Read[3] == 0 )
			{
		//		printf("应该左转\r\n");
				g_cThisState = 0.6;//应该左转
			}
			else if(g_ucaHW_Read[0] == 0&&g_ucaHW_Read[1] == 0&&g_ucaHW_Read[2] == 0&&g_ucaHW_Read[3] == 1 )
			{
		//		printf("快速左转\r\n");
				g_cThisState = 1.8;//快速左转
			}
			else if(g_ucaHW_Read[0] == 0&&g_ucaHW_Read[1] == 0&&g_ucaHW_Read[2] == 1&&g_ucaHW_Read[3] == 1)
			{
		//	    printf("快速左转\r\n");
				g_cThisState = 2.5;//快速左转
			}
			g_fHW_PID_Out = PID_realize(&pidHW_Tracking,g_cThisState);//PID计算输出目标速度 这个速度，会和基础速度加减

			g_fHW_PID_Out1 = 2 + g_fHW_PID_Out;//电机1速度=基础速度+循迹PID输出速度
			g_fHW_PID_Out2 = 2 - g_fHW_PID_Out;//电机1速度=基础速度-循迹PID输出速度
			if(g_fHW_PID_Out1 >5) g_fHW_PID_Out1 =5;//进行限幅 限幅速度在0-5之间
			if(g_fHW_PID_Out1 <0) g_fHW_PID_Out1 =0;
			if(g_fHW_PID_Out2 >5) g_fHW_PID_Out2 =5;
			if(g_fHW_PID_Out2 <0) g_fHW_PID_Out2 =0;

			if(g_cThisState != g_cLastState)//如何这次状态不等于上次状态、就进行改变目标速度和控制电机、在定时器中依旧定时控制电机
			{
				motorPidSetSpeed(g_fHW_PID_Out1,g_fHW_PID_Out2);//通过计算的速度控制电机
			}

			g_cLastState = g_cThisState;//保存上次红外对管状态

		}

		else if(readMode == 2)
		{

			//***************遥控模式***********************//
			//遥控模式的控制在串口三的中断里面
		}

		else if(readMode == 3)
		{
			//超声波避障
			if(HC_SR04_Read() > 25)//前方无障碍物
			{
				motorPidSetSpeed(1,1);//前运动
				osDelay(100);
			}
			else{	//前方有障碍物
				motorPidSetSpeed(-1,1);//右边运动 原地
				osDelay(500);
				if(HC_SR04_Read() > 25)//右边无障碍物
				{
					motorPidSetSpeed(1,1);//前运动
					osDelay(100);
				}
				else{//右边有障碍物
					motorPidSetSpeed(1,-1);//左边运动 原地
					osDelay(1000);
					if(HC_SR04_Read() >25)//左边无障碍物
					{
						 motorPidSetSpeed(1,1);//前运动
						osDelay(100);
					}
					else{
						motorPidSetSpeed(-1,-1);//后运动
						osDelay(1000);
						motorPidSetSpeed(-1,1);//右边运动
						osDelay(50);
					}
				}
			}
		}
		else if(readMode == 4)
		{
			//PID超声波跟随
			g_fHC_SR04_Read=HC_SR04_Read();//读取前方障碍物距离
			if(g_fHC_SR04_Read < 20)
			{  //如果前 X cm 有东西就启动跟随
			g_fFollow_PID_Out = PID_realize(&pidFollow,g_fHC_SR04_Read);//PID计算输出目标速度 这个速度，会和基础速度加减
			if(g_fFollow_PID_Out > 3) g_fFollow_PID_Out = 3;//对输出速度限幅
			if(g_fFollow_PID_Out < -3) g_fFollow_PID_Out = -3;
			motorPidSetSpeed(g_fFollow_PID_Out,g_fFollow_PID_Out);//速度作用与电机上
			}
			else motorPidSetSpeed(0,0);//如果前面 X cm 没有东西就停止
			osDelay(10);//读取超声波传感器不能过快
		}

		else if(readMode == 5)
		{
			//MPU6050 姿态角数据，PID转向控制
			//读取数据
				for(uint8_t i = 0; i < 20 ; i++)
			{
				if(mpu_dmp_get_data(&pitch,&roll,&yaw) == 0)//获得MPU6050数据成功
				{
					printf("mpu_dmp_get_data() Data for success\n");//串口1 输出数据获取成功 注意！ 这个要写再串口1初始化之后
					break;
				}

				if(i == 20-1 )//i已经等于(20-1)次 还没有退出循环说明 说明输出读取失败
				{

					printf("mpu_dmp_get_data()  Data acquisition failure\n");//串口1 输出数据获取失败 注意！ 这个要写再串口1初始化之后
				}
			}
			//姿态角数据发送到蓝牙
			sprintf((char *)Usart3String,"pitch:%.2f roll:%.2f yaw:%.2f\n",pitch,roll,yaw);//显示6050数据 俯仰角 横滚角 航向角
			HAL_UART_Transmit(&huart3,( uint8_t *)Usart3String,strlen(( const  char  *)Usart3String),0xFFFF);//通过串口三输出字符 strlen:计算字符串大小

			//PID转向控制
			g_fMPU6050YawMovePidOut = PID_realize(&pidMPU6050YawMovement,yaw);//PID计算输出目标速度 这个速度，会和基础速度加减

			g_fMPU6050YawMovePidOut1 = 1.5 + g_fMPU6050YawMovePidOut;//基础速度加减PID输出速度
			g_fMPU6050YawMovePidOut2 = 1.5 - g_fMPU6050YawMovePidOut;
			if(g_fMPU6050YawMovePidOut1 >3.5) g_fMPU6050YawMovePidOut1 =3.5;//进行限幅
			if(g_fMPU6050YawMovePidOut1 <0) g_fMPU6050YawMovePidOut1 =0;
			if(g_fMPU6050YawMovePidOut2 >3.5) g_fMPU6050YawMovePidOut2 =3.5;
			if(g_fMPU6050YawMovePidOut2 <0) g_fMPU6050YawMovePidOut2 =0;
			motorPidSetSpeed(g_fMPU6050YawMovePidOut1,g_fMPU6050YawMovePidOut2);
		}
    osDelay(1);
  }
  /* USER CODE END StartMultiModeTask */
}
